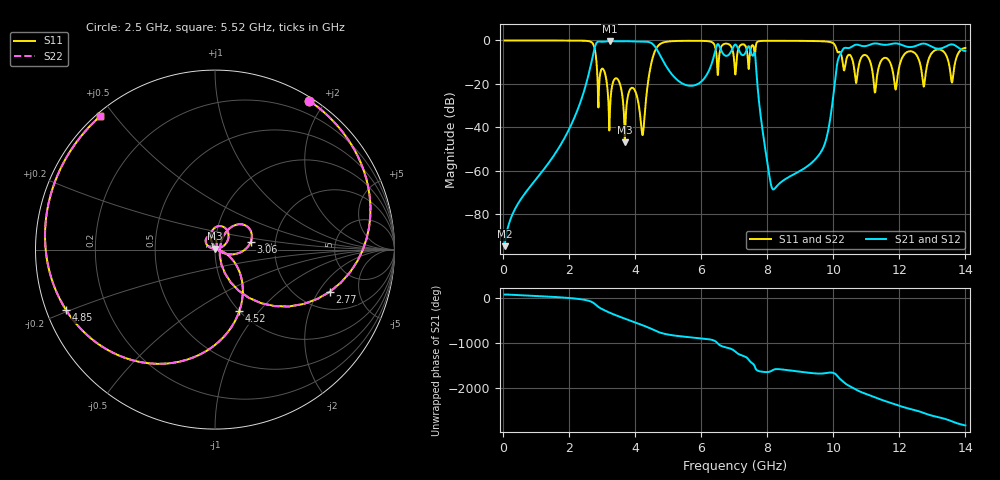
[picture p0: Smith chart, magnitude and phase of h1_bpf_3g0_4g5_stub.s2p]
! kicad2ems mom25d 2.5D MoM (f)
! ports: 1=P1, 2=P2
# Hz S RI R 50
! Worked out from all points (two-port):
!   1396 points, 50 MHz to 14 GHz, reference 50 ohm
!   highest |S21| = -0.33 dB at 3.23 GHz (marker M1); lowest = -94.6 dB at 50 MHz (marker M2)
!   |S21| within 3 dB of the highest: 2.778 GHz to 4.626 GHz (1.848 GHz wide, 49.9 % of centre); 10.5 GHz to 13.04 GHz (2.539 GHz wide, 21.6 % of centre)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
!   lowest |S11| = -46.8 dB at 3.69 GHz (marker M3), VSWR 1.01, Z = 50.1 + j0.446 ohm
!   |S11| at or under -10 dB: 2.832 GHz to 4.499 GHz (1.667 GHz wide, 45.5 % of centre); 11.12 GHz to 11.43 GHz (306.8 MHz wide, 2.72 % of centre); 11.72 GHz to 12.03 GHz (318 MHz wide, 2.68 % of centre)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
!   |S22| runs from -46.4 to 0.0 dB; largest |S21 - S12| = 1e-06
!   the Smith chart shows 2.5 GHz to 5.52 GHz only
!   S11 on the Smith chart (normalised r, x): 2.5 GHz: 0.04, +1.82; 2.77 GHz: 2.91, -2.55; 3.06 GHz: 1.49, +0.13; 4.52 GHz: 1.00, -0.79; 4.85 GHz: 0.06, -0.19; 5.52 GHz: 0.01, +0.46
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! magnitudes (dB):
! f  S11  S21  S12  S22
! 50 MHz  0.0  -94.6  -94.6  0.0
! 2.38 GHz  -0.1  -26.8  -26.8  -0.1
! 2.5 GHz  -0.2  -21.0  -21.0  -0.2
! 2.77 GHz  -3.3  -3.8  -3.8  -3.3
! 3.06 GHz  -13.9  -0.5  -0.5  -13.9
! 3.23 GHz  -36.6  -0.3  -0.3  -36.4
! 3.46 GHz  -17.6  -0.4  -0.4  -17.6
! 3.69 GHz  -46.8  -0.3  -0.3  -46.4
! 3.94 GHz  -21.9  -0.4  -0.4  -21.9
! 4.23 GHz  -43.5  -0.5  -0.5  -43.4
! 4.52 GHz  -8.7  -1.5  -1.5  -8.7
! 4.7 GHz  -2.4  -5.2  -5.2  -2.4
! 4.85 GHz  -1.0  -9.5  -9.5  -1.0
! 5.52 GHz  -0.2  -20.4  -20.4  -0.2
! 7.03 GHz  -15.4  -1.9  -1.9  -15.4
! 7.61 GHz  -5.0  -5.8  -5.8  -5.0
! 8.16 GHz  -0.2  -68.3  -68.3  -0.2
! 9.35 GHz  -0.3  -56.2  -56.2  -0.3
! 9.78 GHz  -0.5  -45.8  -45.8  -0.5
! 10.27 GHz  -8.6  -4.6  -4.6  -8.6
! 11.68 GHz  -9.1  -1.8  -1.8  -9.1
! 14 GHz  -3.5  -4.8  -4.8  -3.5
